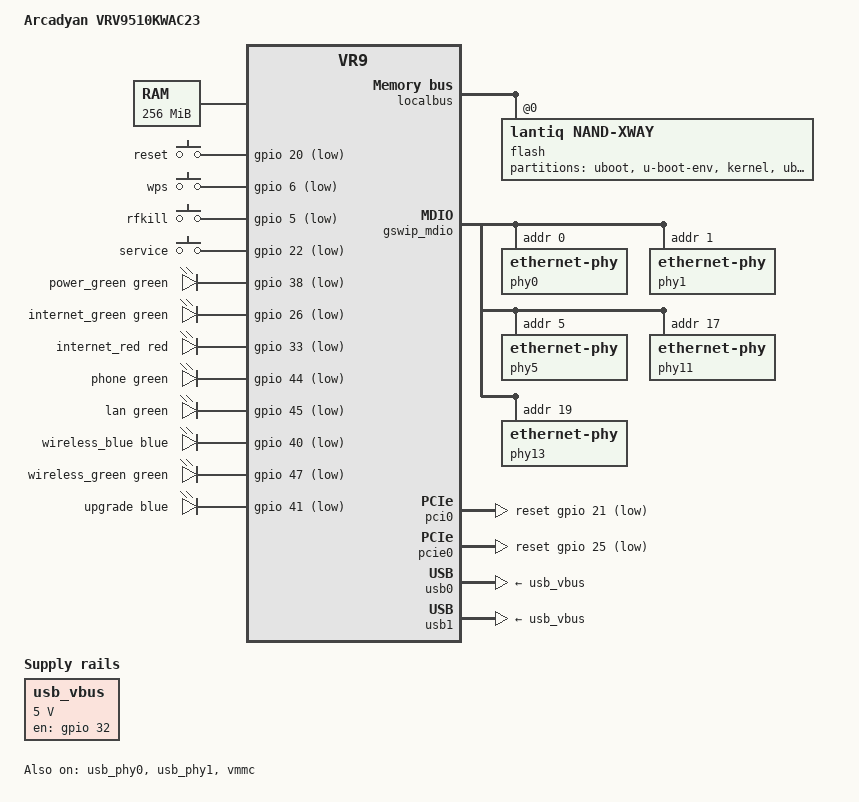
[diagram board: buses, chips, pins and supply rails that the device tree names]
// SPDX-License-Identifier: GPL-2.0-or-later

#include "vr9.dtsi"

#include <dt-bindings/input/input.h>
#include <dt-bindings/leds/common.h>
#include <dt-bindings/mips/lantiq_rcu_gphy.h>

/ {
	compatible = "arcadyan,vrv9510kwac23", "lantiq,xway", "lantiq,vr9";
	model = "Arcadyan VRV9510KWAC23";
	chosen {
		bootargs = "console=ttyLTQ0,115200 mem=254M vpe1_load_addr=0x8fe00000 vpe1_mem=2M maxvpes=1 maxtcs=1 nosmp";
	};

	aliases {
		led-boot = &power_green;
		led-failsafe = &upgrade;
		led-running = &power_green;
		led-upgrade = &power_green;
		led-internet = &internet_green;
		led-wifi = &wireless_green;
	};

	bcm43222-sprom {
		compatible = "brcm,ssb-sprom";

		pci-bus = <0>;
		pci-dev = <14>;

		nvmem-cells = <&macaddr_boardconfig_16 1>;
		nvmem-cell-names = "mac-address";

		brcm,sprom = "brcm/bcm43222-sprom.bin";
		brcm,sprom-fixups = <2   0x04d2>,
				    <65  0x1308>, <68  0x0402>,
				    <70  0x1cc6>, <71  0x3c49>,
				    <72  0x1132>, <87  0x0315>,
				    <88  0x0315>, <96  0x2048>,
				    <97  0xfeed>, <98  0x153e>,
				    <99  0xfb1f>, <100 0x3e54>,
				    <101 0x3848>, <102 0xfea0>,
				    <103 0x145c>, <104 0xfaf0>,
				    <105 0xfe6e>, <106 0x110c>,
				    <107 0xfb7e>, <108 0xff00>,
				    <109 0x13c4>, <110 0xfb30>,
				    <111 0x0000>, <112 0x204c>,
				    <113 0xfeb8>, <114 0x1508>,
				    <115 0xfacb>, <116 0x3e48>,
				    <117 0x3848>, <118 0xfeb2>,
				    <119 0x156e>, <120 0xfabf>,
				    <121 0xfe57>, <122 0x1139>,
				    <123 0xfb6d>, <124 0xff38>,
				    <125 0x13ee>, <126 0xfb6d>,
				    <127 0x0000>, <161 0x0000>,
				    <162 0x0000>, <169 0x0000>,
				    <170 0x0000>, <171 0x0000>,
				    <172 0x0000>, <173 0x0000>,
				    <174 0x0000>, <175 0x0000>,
				    <176 0x0000>, <219 0x1108>,
				    <127 0x0000>, <161 0x0000>,
				    <162 0x0000>, <169 0x0000>,
				    <170 0x0000>, <171 0x0000>,
				    <172 0x0000>, <173 0x0000>,
				    <174 0x0000>, <175 0x0000>,
				    <176 0x0000>, <219 0x1108>;
	};

	bcm4360-sprom {
		compatible = "brcm,bcma-sprom";

		pci-bus = <2>;
		pci-dev = <0>;

		nvmem-cells = <&macaddr_boardconfig_16 1>;
		nvmem-cell-names = "mac-address";

		brcm,sprom = "brcm/bcm4360-sprom.bin";
	};

	memory@0 {
		device_type = "memory";
		reg = <0x0 0x10000000>;
	};

	keys {
		compatible = "gpio-keys-polled";
		poll-interval = <100>;

		reset {
			label = "reset";
			gpios = <&gpio 20 GPIO_ACTIVE_LOW>;
			linux,code = <KEY_RESTART>;
		};
		wps {
			label = "wps";
			gpios = <&gpio 6 GPIO_ACTIVE_LOW>;
			linux,code = <KEY_WPS_BUTTON>;
		};
		rfkill {
			label = "rfkill";
			gpios = <&gpio 5 GPIO_ACTIVE_LOW>;
			linux,code = <KEY_RFKILL>;
		};
		service {
			label = "service";
			gpios = <&gpio 22 GPIO_ACTIVE_LOW>;
			linux,code = <BTN_0>;
		};
	};

	leds {
		compatible = "gpio-leds";
		// from top to bottom
		power_green: power {
			gpios = <&gpio 38 GPIO_ACTIVE_LOW>;
			color = <LED_COLOR_ID_GREEN>;
			function = LED_FUNCTION_POWER;
		};
		internet_green: internet_green {
			gpios = <&gpio 26 GPIO_ACTIVE_LOW>;
			color = <LED_COLOR_ID_GREEN>;
			function = LED_FUNCTION_WAN;
		};
		internet_red {
			gpios = <&gpio 33 GPIO_ACTIVE_LOW>;
			color = <LED_COLOR_ID_RED>;
			function = LED_FUNCTION_FAULT;
		};
		phone {
			gpios = <&gpio 44 GPIO_ACTIVE_LOW>;
			color = <LED_COLOR_ID_GREEN>;
		};
		lan {
			color = <LED_COLOR_ID_GREEN>;
			gpios = <&gpio 45 GPIO_ACTIVE_LOW>;
			function = LED_FUNCTION_LAN;
		};
		wireless_blue {
			gpios = <&gpio 40 GPIO_ACTIVE_LOW>;
			color = <LED_COLOR_ID_BLUE>;
		};
		wireless_green: wireless_green {
			gpios = <&gpio 47 GPIO_ACTIVE_LOW>;
			color = <LED_COLOR_ID_GREEN>;
			function = LED_FUNCTION_WLAN;
		};
		upgrade: upgrade {
			gpios = <&gpio 41 GPIO_ACTIVE_LOW>;
			color = <LED_COLOR_ID_BLUE>;
		};
	};

	usb_vbus: regulator-usb-vbus {
		compatible = "regulator-fixed";

		regulator-name = "USB_VBUS";

		regulator-min-microvolt = <5000000>;
		regulator-max-microvolt = <5000000>;

		gpios = <&gpio 32 GPIO_ACTIVE_HIGH>;
		enable-active-high;
	};
};

&localbus {
	flash@0 {
		compatible = "lantiq,nand-xway";
		lantiq,cs = <1>;
		bank-width = <2>;
		reg = <0 0x0 0x2000000>;

		pinctrl-0 = <&nand_pins>, <&nand_cs1_pins>;
		pinctrl-names = "default";

		nand-use-soft-ecc-engine;

		partitions {
			compatible = "fixed-partitions";
			#address-cells = <1>;
			#size-cells = <1>;

			partition@0 {
				label = "uboot";
				reg = <0x00000 0x80000>;
				read-only;
			};
			partition@80000 {
				label = "u-boot-env";
				reg = <0x80000 0x20000>;
			};
			partition@a0000 {
				label = "kernel";
				reg = <0xa0000 0x400000>;
			};
			partition@540000 {
				label = "ubi";
				reg = <0x4a0000 0x7a00000>;
			};
			boardconfig: partition@7ea0000 {
				label = "board_config";
				reg = <0x7ea0000 0x1000>;
				read-only;

				nvmem-layout {
					compatible = "fixed-layout";
					#address-cells = <1>;
					#size-cells = <1>;

					macaddr_boardconfig_16: macaddr@16 {
						compatible = "mac-base";
						reg = <0x16 0x6>;
						#nvmem-cell-cells = <1>;
					};
				};
			};
		};
	};
};

&eth0 {
	nvmem-cells = <&macaddr_boardconfig_16 0>;
	nvmem-cell-names = "mac-address";
};

&ppe {
	nvmem-cells = <&macaddr_boardconfig_16 0>;
	nvmem-cell-names = "mac-address";
};

&gphy0 {
	lantiq,gphy-mode = <GPHY_MODE_GE>;
};

&gphy1 {
	lantiq,gphy-mode = <GPHY_MODE_GE>;
};

&gpio {
	pinctrl-names = "default";
	pinctrl-0 = <&state_default>;

	state_default: pinmux {
		pci_rst {
			lantiq,pins = "io21";
			lantiq,output = <1>;
			lantiq,open-drain = <0>;
			lantiq,pull = <2>;
		};
		pcie_rst {
			lantiq,pins = "io25";
			lantiq,output = <1>;
			lantiq,open-drain = <0>;
			lantiq,pull = <2>;
		};
		usb_vbus {
			lantiq,pins = "io32";
			lantiq,output = <1>;
			lantiq,open-drain = <0>;
			lantiq,pull = <2>;
		};
	};
};

&gswip {
	pinctrl-0 = <&mdio_pins>;
	pinctrl-names = "default";
};

&gswip_mdio {
	phy0: ethernet-phy@0 {
		reg = <0x0>;
	};
	phy1: ethernet-phy@1 {
		reg = <0x1>;
	};
	phy5: ethernet-phy@5 {
		reg = <0x5>;
	};
	phy11: ethernet-phy@11 {
		reg = <0x11>;
	};
	phy13: ethernet-phy@13 {
		reg = <0x13>;
	};
};

&gswip_ports {
	port@0 {
		reg = <0>;
		label = "lan3";
		phy-mode = "rgmii-id";
		tx-internal-delay-ps = <1500>;
		rx-internal-delay-ps = <1500>;
		phy-handle = <&phy0>;
	};
	port@1 {
		reg = <1>;
		label = "lan2";
		phy-mode = "rgmii-id";
		tx-internal-delay-ps = <1500>;
		rx-internal-delay-ps = <1500>;
		phy-handle = <&phy1>;
	};
	port@2 {
		reg = <2>;
		label = "lan1";
		phy-mode = "internal";
		phy-handle = <&phy11>;
	};
	port@4 {
		reg = <4>;
		label = "wan";
		phy-mode = "internal";
		phy-handle = <&phy13>;
		nvmem-cells = <&macaddr_boardconfig_16 0>;
		nvmem-cell-names = "mac-address";
	};
	port@5 {
		reg = <5>;
		label = "lan4";
		phy-mode = "rgmii-id";
		tx-internal-delay-ps = <1500>;
		rx-internal-delay-ps = <1500>;
		phy-handle = <&phy5>;
	};
};

&pci0 {
	status = "okay";

	pinctrl-0 = <&pci_gnt1_pins>, <&pci_req1_pins>;
	pinctrl-names = "default";

	reset-gpios = <&gpio 21 GPIO_ACTIVE_LOW>;
};

&pcie0 {
	status = "okay";

	reset-gpios = <&gpio 25 GPIO_ACTIVE_LOW>;
};

&usb_phy0 {
	status = "okay";
};

&usb_phy1 {
	status = "okay";
};

&usb0 {
	status = "okay";
	vbus-supply = <&usb_vbus>;
};

&usb1 {
	status = "okay";
	vbus-supply = <&usb_vbus>;
};

&vmmc {
	status = "okay";
	gpios = <&gpio 30 GPIO_ACTIVE_HIGH  //fxs relay
		 &gpio 31 GPIO_ACTIVE_HIGH  //still unknown
		 &gpio 3  GPIO_ACTIVE_HIGH>; //reset_slic?
};
